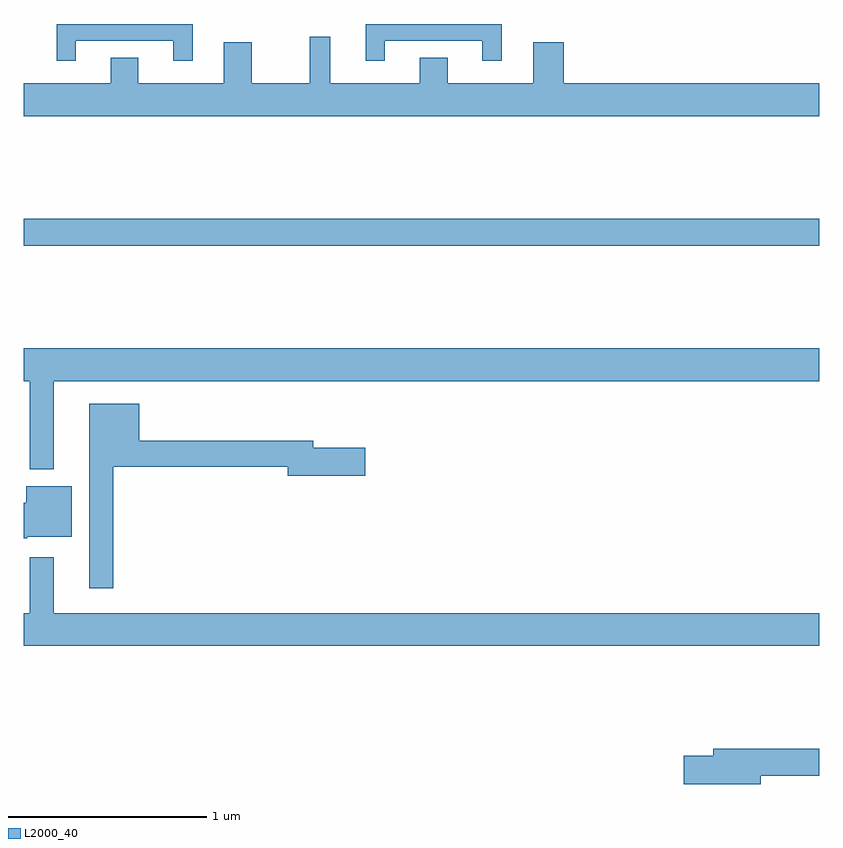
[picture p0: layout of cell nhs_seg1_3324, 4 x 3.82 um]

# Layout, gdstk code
import gdstk
lib = gdstk.Library(unit=1e-6, precision=1e-09)
def R(c, l, rs):  # rectangles x0, y0, x1, y1
    for r in rs: c.add(gdstk.rectangle(r[:2], r[2:], *l))
def P(c, l, *ps):  # polygons
    for p in ps: c.add(gdstk.Polygon(p, *l))
L2000_40 = (2000, 40)

nhs_seg1_3324 = lib.new_cell('nhs_seg1_3324')
R(nhs_seg1_3324, L2000_40, [(291,547.084,295,547.22)])
P(nhs_seg1_3324, L2000_40, [(291.262,548.115),(291.752,548.115),(291.752,548.013),(291.85,548.013),(291.85,548.199),(291.165,548.199),(291.165,548.013),(291.262,548.013)],
  [(292.816,548.115),(293.306,548.115),(293.306,548.013),(293.404,548.013),(293.404,548.199),(292.719,548.199),(292.719,548.013),(292.816,548.013)],
  [(295,547.9),(293.714,547.9),(293.714,548.107),(293.561,548.107),(293.561,547.9),(293.131,547.9),(293.131,548.03),(292.991,548.03),(292.991,547.9),(292.541,547.9),(292.541,548.134),(292.438,548.134),(292.438,547.9),(292.147,547.9),(292.147,548.107),(292.007,548.107),(292.007,547.9),(291.577,547.9),(291.577,548.03),(291.437,548.03),(291.437,547.9),(291,547.9),(291,547.736),(295,547.736)],
  [(291.151,546.404),(295,546.404),(295,546.568),(291,546.568),(291,546.404),(291.03,546.404),(291.03,545.96),(291.151,545.96)],
  [(291.451,545.974),(292.328,545.974),(292.328,545.927),(292.717,545.927),(292.717,546.069),(292.456,546.069),(292.456,546.103),(291.58,546.103),(291.58,546.289),(291.329,546.289),(291.329,545.361),(291.451,545.361)],
  [(291.018,545.621),(291.241,545.621),(291.241,545.875),(291.014,545.875),(291.014,545.792),(291,545.792),(291,545.614),(291.018,545.614)],
  [(295,545.236),(291.151,545.236),(291.151,545.518),(291.03,545.518),(291.03,545.236),(291,545.236),(291,545.072),(295,545.072)],
  [(294.706,544.42),(295,544.42),(295,544.556),(294.467,544.556),(294.467,544.52),(294.318,544.52),(294.318,544.378),(294.706,544.378)])

lib.write_gds('nhs_seg1_3324.gds')
